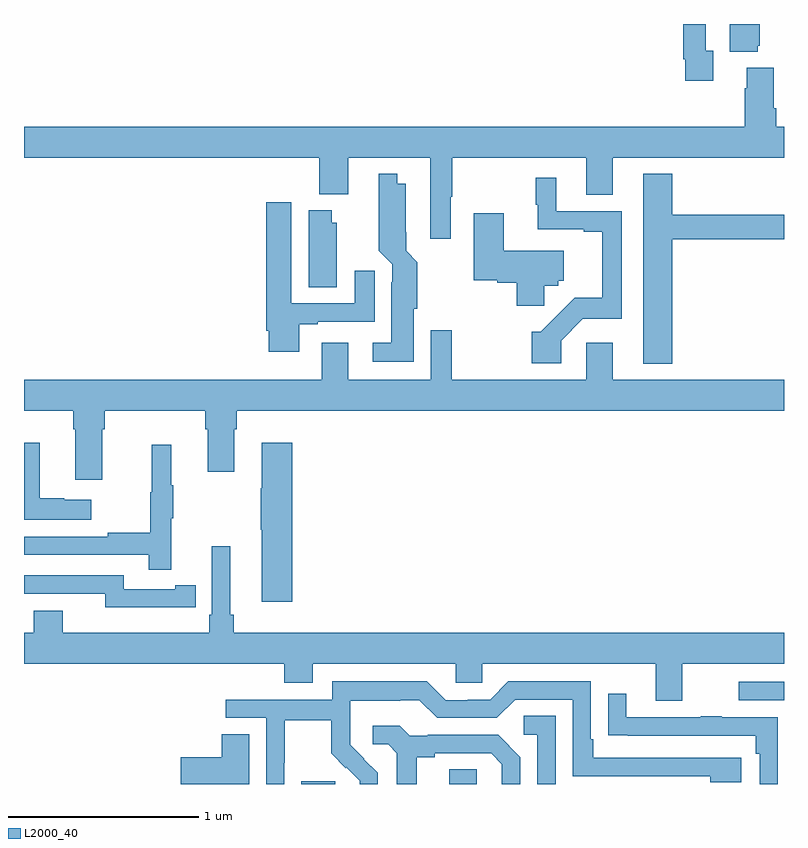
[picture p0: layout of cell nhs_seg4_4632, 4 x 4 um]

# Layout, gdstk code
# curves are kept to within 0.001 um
import gdstk
lib = gdstk.Library(unit=1e-6, precision=1e-09)
def R(c, l, rs):  # rectangles x0, y0, x1, y1
    for r in rs: c.add(gdstk.rectangle(r[:2], r[2:], *l))
def P(c, l, *ps):  # polygons
    for p in ps: c.add(gdstk.Polygon(p, *l))
L2000_40 = (2000, 40)

nhs_seg4_4632 = lib.new_cell('nhs_seg4_4632')
R(nhs_seg4_4632, L2000_40, [(362.459,750.9,362.638,750.915), (363.239,750.9,363.384,750.977), (364.761,751.341,365,751.437)])
P(nhs_seg4_4632, L2000_40, [(364.862,754.785),(364.873,754.785),(364.873,754.9),(364.715,754.9),(364.715,754.754),(364.862,754.754)],
  [(364.627,754.758),(364.587,754.758),(364.587,754.9),(364.471,754.9),(364.471,754.714),(364.479,754.714),(364.479,754.602),(364.627,754.602)],
  [(363.247,753.991),(363.255,753.991),(363.255,754.196),(363.959,754.196),(363.959,754.002),(364.099,754.002),(364.099,754.196),(365,754.196),(365,754.36),(364.958,754.36),(364.958,754.456),(364.945,754.456),(364.945,754.669),(364.805,754.669),(364.805,754.562),(364.793,754.562),(364.793,754.36),(361,754.36),(361,754.196),(362.555,754.196),(362.555,754.004),(362.707,754.004),(362.707,754.196),(363.137,754.196),(363.137,753.771),(363.247,753.771)],
  [(364.412,753.766),(365,753.766),(365,753.895),(364.412,753.895),(364.412,754.111),(364.259,754.111),(364.259,753.113),(364.412,753.113)],
  [(363.052,753.402),(363.07,753.402),(363.07,753.647),(363.011,753.706),(363.01,754.06),(362.965,754.06),(362.965,754.111),(362.868,754.111),(362.867,753.706),(362.937,753.636),(362.937,753.542),(362.933,753.542),(362.933,753.223),(362.835,753.223),(362.835,753.122),(363.052,753.122)],
  [(363.828,753.234),(363.942,753.348),(364.147,753.348),(364.147,753.915),(363.802,753.915),(363.802,754.09),(363.693,754.09),(363.693,753.95),(363.704,753.95),(363.704,753.819),(363.947,753.819),(363.947,753.807),(364.043,753.807),(364.043,753.458),(363.899,753.458),(363.721,753.28),(363.673,753.28),(363.673,753.114),(363.828,753.114)],
  [(362.449,753.321),(362.545,753.321),(362.545,753.333),(362.845,753.333),(362.845,753.601),(362.741,753.601),(362.741,753.429),(362.407,753.429),(362.407,753.961),(362.276,753.961),(362.276,753.286),(362.288,753.286),(362.288,753.174),(362.449,753.174)],
  [(362.647,753.855),(362.62,753.855),(362.62,753.919),(362.498,753.919),(362.498,753.514),(362.647,753.514)],
  [(363.737,753.522),(363.813,753.522),(363.813,753.549),(363.841,753.549),(363.841,753.706),(363.526,753.706),(363.526,753.904),(363.368,753.904),(363.368,753.551),(363.491,753.551),(363.491,753.539),(363.593,753.539),(363.593,753.417),(363.737,753.417)],
  [(361.411,752.768),(361.424,752.768),(361.424,752.864),(361.955,752.864),(361.955,752.768),(361.967,752.768),(361.967,752.544),(362.107,752.544),(362.107,752.768),(362.12,752.768),(362.12,752.864),(365,752.864),(365,753.028),(364.099,753.028),(364.099,753.223),(363.96,753.223),(363.96,753.028),(363.25,753.028),(363.25,753.289),(363.141,753.289),(363.141,753.028),(362.707,753.028),(362.707,753.223),(362.567,753.223),(362.567,753.028),(361,753.028),(361,752.864),(361.259,752.864),(361.259,752.768),(361.271,752.768),(361.271,752.502),(361.411,752.502)],
  [(362.411,752.695),(362.252,752.695),(362.252,752.456),(362.245,752.456),(362.245,752.239),(362.252,752.239),(362.252,751.86),(362.411,751.86)],
  [(361.354,752.395),(361.211,752.395),(361.211,752.405),(361.084,752.405),(361.084,752.695),(361,752.695),(361,752.291),(361.354,752.291)],
  [(361.775,752.299),(361.786,752.299),(361.786,752.473),(361.775,752.473),(361.775,752.686),(361.672,752.686),(361.672,752.436),(361.665,752.436),(361.665,752.222),(361.441,752.222),(361.441,752.202),(361,752.202),(361,752.106),(361.657,752.106),(361.657,752.028),(361.775,752.028)],
  [(364.465,751.532),(365,751.532),(365,751.696),(362.105,751.696),(362.105,751.792),(362.086,751.792),(362.086,752.152),(361.989,752.152),(361.989,751.792),(361.976,751.792),(361.976,751.696),(361.204,751.696),(361.204,751.813),(361.052,751.813),(361.052,751.696),(361,751.696),(361,751.532),(362.369,751.532),(362.369,751.433),(362.521,751.433),(362.521,751.532),(363.273,751.532),(363.273,751.434),(363.411,751.434),(363.411,751.532),(364.325,751.532),(364.325,751.338),(364.465,751.338)],
  [(361.796,751.83),(361.904,751.83),(361.904,751.946),(361.796,751.946),(361.796,751.926),(361.524,751.926),(361.524,751.998),(361,751.998),(361,751.902),(361.428,751.902),(361.428,751.829),(361.796,751.829)],
  [(362.37,751.012),(362.373,751.012),(362.373,751.236),(362.617,751.236),(362.617,751.061),(362.694,750.984),(362.697,750.987),(362.768,750.917),(362.768,750.9),(362.862,750.9),(362.862,750.958),(362.716,751.106),(362.716,751.203),(362.718,751.203),(362.718,751.337),(362.981,751.337),(362.981,751.341),(363.081,751.341),(363.174,751.248),(363.489,751.248),(363.585,751.344),(363.888,751.344),(363.888,750.942),(364.613,750.942),(364.613,750.908),(364.774,750.908),(364.774,751.038),(363.997,751.038),(363.997,751.135),(363.984,751.135),(363.984,751.44),(363.549,751.44),(363.453,751.344),(363.335,751.344),(363.335,751.341),(363.219,751.341),(363.119,751.441),(362.622,751.441),(362.622,751.344),(362.061,751.344),(362.061,751.248),(362.274,751.248),(362.274,750.9),(362.37,750.9)],
  [(364.968,751.251),(364.673,751.251),(364.673,751.256),(364.561,751.256),(364.561,751.251),(364.171,751.251),(364.171,751.375),(364.075,751.375),(364.075,751.156),(364.177,751.156),(364.177,751.155),(364.852,751.155),(364.852,751.058),(364.872,751.058),(364.872,750.9),(364.968,750.9)],
  [(363.798,751.259),(363.63,751.259),(363.63,751.158),(363.702,751.158),(363.702,750.9),(363.798,750.9)],
  [(363.067,751.04),(363.163,751.04),(363.163,751.062),(363.458,751.062),(363.515,751.005),(363.515,750.9),(363.612,750.9),(363.612,751.042),(363.496,751.158),(363.124,751.158),(363.124,751.155),(363.03,751.155),(362.978,751.207),(362.835,751.207),(362.835,751.11),(362.916,751.11),(362.963,751.063),(362.963,750.9),(363.067,750.9)],
  [(362.185,751.163),(362.042,751.163),(362.042,751.04),(361.824,751.04),(361.824,750.9),(362.185,750.9)])

lib.write_gds('nhs_seg4_4632.gds')
